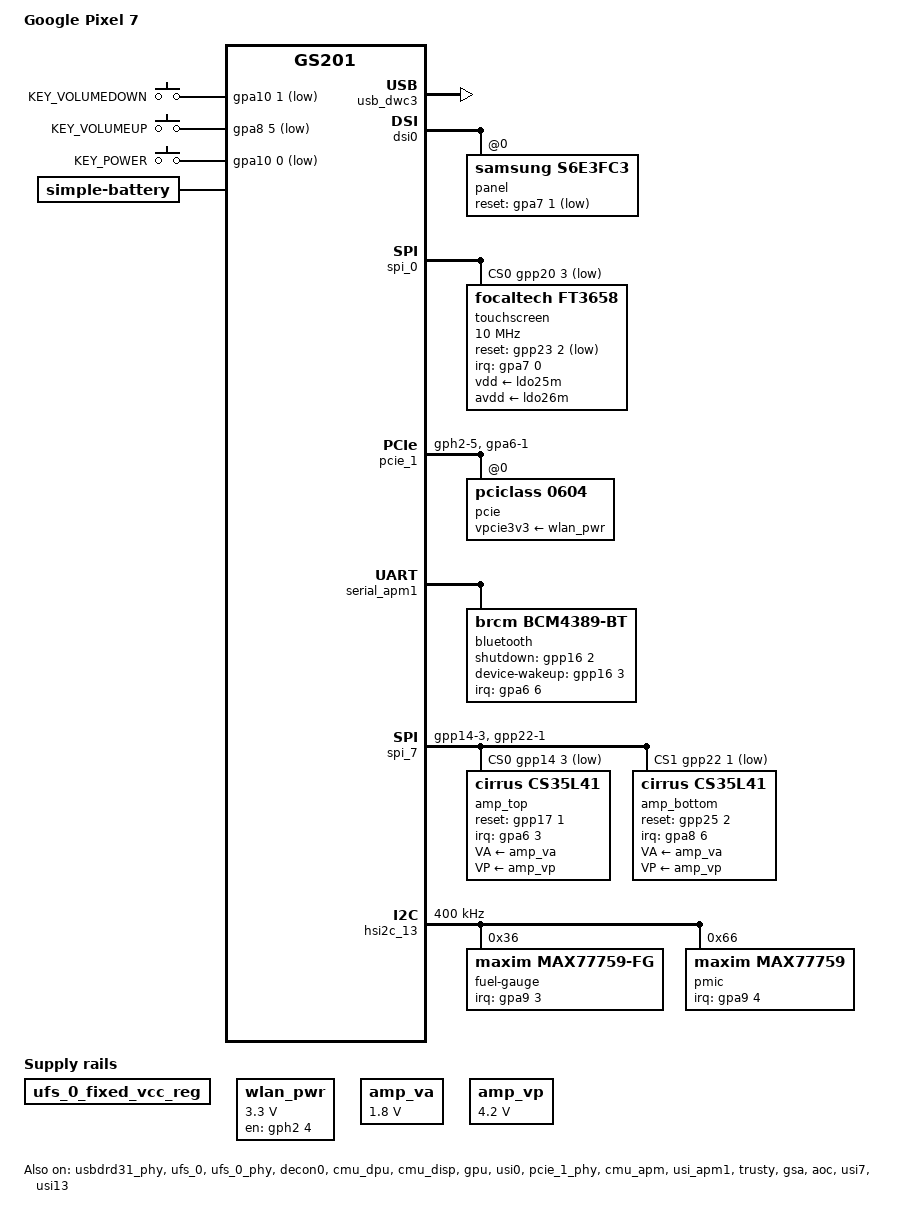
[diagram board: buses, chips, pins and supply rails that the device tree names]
// SPDX-License-Identifier: GPL-2.0-only
/*
 * Google Pixel 7 (panther) - M1 first-light board file.
 *
 * Same SoC and, by the stock dtbo, the same PMICs, charger, fuel gauge,
 * haptics, amplifiers, Wi-Fi/BT and GNSS parts as the Pixel 7 Pro
 * (cheetah). What differs: the panel (Samsung S6E3FC3, 1080x2400, 60/90 Hz)
 * and the touch controller (Focaltech, on SPI). This file only switches on
 * what the bootloader already leaves running or what is board-independent
 * on gs201: the boot framebuffer, USB, UFS and the keys; and what has been
 * brought up on the phone since: touch, GPU, display. Everything else stays
 * disabled until it is proven on the phone.
 */

/dts-v1/;

#include <dt-bindings/input/input.h>
#include "gs201.dtsi"

/ {
	model = "Google Pixel 7";
	compatible = "google,gs201-panther", "google,gs201";

	/* ABL base-DTB match, as cheetah: B0 = 0x09855001 */
	soc_id = <0x09855001 0x0>;

	chosen {
		/* ABL requires bootargs to exist; it appends its own after these */
		bootargs = "console=tty0 fbcon=font:TER16x32 panic=10 clk_ignore_unused pd_ignore_unused rdinit=/init mem_sleep_default=s2idle";
		#address-cells = <2>;
		#size-cells = <1>;
		ranges;

		/*
		 * What ABL scans out from DECON0 (S6E3FC3 panel): ABL's own
		 * splash@fac00000 carve-out, seen on this phone (2026-10-25).
		 */
		framebuffer0: framebuffer@fac00000 {
			compatible = "simple-framebuffer";
			memory-region = <&cont_splash_mem>;
			width = <1080>;
			height = <2400>;
			stride = <(1080 * 4)>;
			format = "a8r8g8b8";
		};
	};

	/* same pins as cheetah and felix (factory key-voldown/volup/power) */
	gpio-keys {
		compatible = "gpio-keys";
		pinctrl-0 = <&key_voldown>, <&key_volup>, <&key_power>;
		pinctrl-names = "default";

		button-vol-down {
			label = "KEY_VOLUMEDOWN";
			linux,code = <KEY_VOLUMEDOWN>;
			gpios = <&gpa10 1 GPIO_ACTIVE_LOW>;
			wakeup-source;
		};

		button-vol-up {
			label = "KEY_VOLUMEUP";
			linux,code = <KEY_VOLUMEUP>;
			gpios = <&gpa8 5 GPIO_ACTIVE_LOW>;
			wakeup-source;
		};

		button-power {
			label = "KEY_POWER";
			linux,code = <KEY_POWER>;
			gpios = <&gpa10 0 GPIO_ACTIVE_LOW>;
			wakeup-source;
		};
	};

	/*
	 * The battery, from the stock dtbo's google,battery (entry 22, PANTHER
	 * MP): google,chg-battery-capacity 4277 mAh, the top of
	 * google,chg-cv-limits (4.2/4.3/4.45 V) and the gauge model's VEmpty.
	 * The charge limits are for the charger cell (pmic@66): 4.45 V, the
	 * top CV step, and 0.3C (1266720 uA, the nearest CHGCC step under
	 * 0.3 x 4277 mAh). The temperature guard (max77759_charger temp_guard)
	 * steps both down by stock's google,chg-temp-limits table.
	 */
	battery: battery {
		compatible = "simple-battery";
		charge-full-design-microamp-hours = <4277000>;
		voltage-max-design-microvolt = <4450000>;
		voltage-min-design-microvolt = <3300000>;
		constant-charge-voltage-max-microvolt = <4450000>;
		constant-charge-current-max-microamp = <1266720>;
	};

	/* UFS VCC: gpp0-1, left on by the bootloader (as cheetah) */
	ufs_0_fixed_vcc_reg: regulator-ufs-vcc {
		compatible = "regulator-fixed";
		regulator-name = "ufs-vcc";
		regulator-always-on;
		regulator-boot-on;
	};

	/*
	 * WL_REG_ON of the BCM4389 (gph2-4, as on cheetah and in the stock
	 * dtbo). Google raises it and waits 200 ms before training the link
	 * (WIFI_TURNON_DELAY in bcmdhd). Modelled as the root port's supply so
	 * the PCI pwrctrl core switches it around link training.
	 */
	wlan_pwr: regulator-wlan {
		compatible = "regulator-fixed";
		regulator-name = "wlan-reg-on";
		regulator-min-microvolt = <3300000>;
		regulator-max-microvolt = <3300000>;
		gpio = <&gph2 4 GPIO_ACTIVE_HIGH>;
		enable-active-high;
		startup-delay-us = <200000>;
		pinctrl-0 = <&wlan_reg_on>;
		pinctrl-names = "default";
	};

	reserved-memory {
		#address-cells = <2>;
		#size-cells = <1>;
		ranges;

		/* stock's pstore region, readable from the stock slot after a warm reboot */
		ramoops@fd3ff000 {
			compatible = "ramoops";
			reg = <0x0 0xfd3ff000 0x400000>;
			console-size = <0x200000>;
			pmsg-size = <0x200000>;
		};

		cont_splash_mem: splash@fac00000 {
			reg = <0x0 0xfac00000 (1080 * 2400 * 4)>;
			no-map;
		};

		/*
		 * All of the Wi-Fi chip's DMA buffers come from this pool, as on
		 * cheetah: it keeps driver bugs away from the rest of RAM (not
		 * the chip's own firmware).
		 */
		wifi_dma_pool: wifi-dma-pool {
			compatible = "restricted-dma-pool";
			size = <0x1000000>;
			alignment = <0x0 0x200000>;
			/* the chip's writes above 4 GiB are not seen */
			alloc-ranges = <0x0 0x80000000 0x80000000>;
		};

		/* gs-decon's scanout buffers: DPP0 takes 32-bit addresses */
		display_pool: display-pool {
			compatible = "shared-dma-pool";
			reusable;
			size = <0x4000000>;
			/* read with the root's #address-cells (2), not #size-cells */
			alignment = <0x0 0x200000>;
			alloc-ranges = <0x0 0x80000000 0x80000000>;
		};
	};
};

&usbdrd31_phy {
	status = "okay";
};

&usb_dwc3 {
	status = "okay";
};

&ufs_0 {
	vcc-supply = <&ufs_0_fixed_vcc_reg>;
	status = "okay";
};

&ufs_0_phy {
	status = "okay";
};

/*
 * The bootloader leaves DECON0 -> DSIM0 -> panel running in command mode
 * with DSC (1080x2400, 4 lanes at 1102 Mbps, 60 Hz), as on cheetah.
 * gs-decon (flip-only KMS) takes the screen over from simpledrm once it,
 * the DSIM and the panel drivers have probed.
 */
&dsi0 {
	status = "okay";

	panel: panel@0 {
		compatible = "samsung,s6e3fc3";
		reg = <0>;
		/* high = running; the bootloader leaves it high (stock dtbo: gpa7-1) */
		reset-gpios = <&gpa7 1 GPIO_ACTIVE_LOW>;
		/* vddi (S2MPG13 BUCKA), vci (S2MPG12 LDO27): no driver yet */
		width-mm = <66>;
		height-mm = <146>;
	};
};

&decon0 {
	memory-region = <&display_pool>, <&cont_splash_mem>;
	memory-region-names = "pool", "boot-framebuffer";
	status = "okay";
};

&cmu_dpu {
	status = "okay";
};

&cmu_disp {
	status = "okay";
};

/* Mali-G710 (Panthor), as cheetah: the G3D rails follow the PMU power domain and ACPM */
&gpu {
	status = "okay";
};

/*
 * Main PMIC, for the touchscreen's two LDOs and its RTC. With the interrupt
 * (GIC SPI 72, as cheetah and stock) the driver also adds the RTC: the
 * clock across reboots and the wake-up timer for suspend (omarchy-mobile
 * SUSPEND-PLAN S3b). It only reads and writes the RTC and the interrupt
 * masks. Only the LDOs described here can be switched; the rest stay as
 * the bootloader set them.
 */
&acpm_ipc {
	pmic-1 {
		compatible = "samsung,s2mpg12-pmic";
		interrupts = <GIC_SPI 72 IRQ_TYPE_LEVEL_HIGH>;
		google,vgpio2ap-sysreg = <&sysreg_vgpio2ap>;
		wakeup-source;

		regulators {
			/*
			 * L25M_TSP_DVDD and L26M_TS_AVDD, stock's ranges, so
			 * nothing sets a voltage at probe. Off at hand-off on
			 * this phone: the FT3658 does not answer without them.
			 */
			ldo25m: ldo25m {
				regulator-name = "vdd_ts";
				regulator-min-microvolt = <1600000>;
				regulator-max-microvolt = <1950000>;
			};

			ldo26m: ldo26m {
				regulator-name = "avdd_ts";
				regulator-min-microvolt = <2500000>;
				regulator-max-microvolt = <3000000>;
			};
		};
	};
};

/*
 * Touchscreen: FocalTech FT3658 on USI0 SPI, from the stock dtbo (entry 22,
 * focaltech,ts): cheetah's bus, chip select, IRQ and reset pins, stock's
 * supplies. gph1-0 (ap2aoc-spi-sel) is the AoC's claim on the bus, which
 * nothing makes without an AoC driver: it reads low, the AP's.
 */
&usi0 {
	samsung,mode = <USI_MODE_SPI>;
	status = "okay";
};

&spi_0 {
	pinctrl-0 = <&spi0_bus &spi0_miso &spi0_cs_gpio>;
	cs-gpios = <&gpp20 3 GPIO_ACTIVE_LOW>;
	num-cs = <1>;
	status = "okay";

	touchscreen@0 {
		compatible = "focaltech,ft3658";
		reg = <0>;
		spi-max-frequency = <10000000>;
		interrupt-parent = <&gpa7>;
		interrupts = <0 IRQ_TYPE_EDGE_FALLING>;
		reset-gpios = <&gpp23 2 GPIO_ACTIVE_LOW>;
		vdd-supply = <&ldo25m>;
		avdd-supply = <&ldo26m>;
		pinctrl-0 = <&ts_irq &ts_reset>;
		pinctrl-names = "default";
		touchscreen-size-x = <1080>;
		touchscreen-size-y = <2400>;
	};
};

/*
 * Wi-Fi: BCM4389 on PCIe GEN4A_1, as on cheetah (stock dtbo: bcmdhd_wlan on
 * pcie_1, ch-num 1, the same pins). Firmware from the factory image
 * (tools/extract-vendor-firmware-panther): brcmfmac4389c1-pcie.<board>.*
 */
&pcie_1 {
	status = "okay";
	pinctrl-0 = <&pcie1_clkreq>, <&pcie1_perst>, <&wlan_dev_wake>,
		    <&wlan_host_wake>;
	pinctrl-names = "default";

	pcie@0,0 {
		compatible = "pciclass,0604";
		device_type = "pci";
		reg = <0x0 0x0 0x0 0x0 0x0>;
		bus-range = <0x01 0xff>;
		#address-cells = <3>;
		#size-cells = <2>;
		ranges;
		vpcie3v3-supply = <&wlan_pwr>;

		wifi@0,0 {
			compatible = "pci14e4,4441";
			reg = <0x10000 0x0 0x0 0x0 0x0>;
			brcm,board-type = "google,gs201-panther";
			memory-region = <&wifi_dma_pool>;
		};
	};
};

&pcie_1_phy {
	status = "okay";
};

/* disabled, as on cheetah: PCIe and UFS share its VID 0 */
&pcie_1_sysmmu {
	google,dma-window = <&wifi_dma_pool>;
};

/*
 * Bluetooth: the BCM4389 BT core on the APM USI1 UART, as on cheetah (stock
 * dtbo: btbcm with BT_REG_ON gpp16-2, BT_DEV_WAKE gpp16-3, host wake gpa6-6).
 */
&cmu_apm {
	status = "okay";
};

&usi_apm1 {
	status = "okay";
};

&serial_apm1 {
	status = "okay";

	bluetooth {
		compatible = "brcm,bcm4389-bt";
		shutdown-gpios = <&gpp16 2 GPIO_ACTIVE_HIGH>;
		device-wakeup-gpios = <&gpp16 3 GPIO_ACTIVE_HIGH>;
		interrupts-extended = <&gpa6 6 IRQ_TYPE_EDGE_RISING>;
		interrupt-names = "host-wakeup";
		pinctrl-0 = <&bt_reg_on &bt_dev_wake &bt_host_wake>;
		pinctrl-names = "default";
		max-speed = <3000000>;
	};
};

&pinctrl_peric0 {
	status = "okay";

	bt_reg_on: bt-reg-on-pins {
		samsung,pins = "gpp16-2";
		samsung,pin-function = <GS101_PIN_FUNC_OUTPUT>;
		samsung,pin-pud = <GS101_PIN_PULL_NONE>;
		samsung,pin-drv = <GS101_PIN_DRV_2_5_MA>;
	};

	bt_dev_wake: bt-dev-wake-pins {
		samsung,pins = "gpp16-3";
		samsung,pin-function = <GS101_PIN_FUNC_OUTPUT>;
		samsung,pin-pud = <GS101_PIN_PULL_NONE>;
		samsung,pin-drv = <GS101_PIN_DRV_2_5_MA>;
	};
};

&pinctrl_far_alive {
	wlan_host_wake: wlan-host-wake-pins {
		samsung,pins = "gpa6-1";
		samsung,pin-function = <GS101_PIN_FUNC_EINT>;
		samsung,pin-pud = <GS101_PIN_PULL_DOWN>;
		samsung,pin-drv = <GS101_PIN_DRV_2_5_MA>;
	};

	bt_host_wake: bt-host-wake-pins {
		samsung,pins = "gpa6-6";
		samsung,pin-function = <GS101_PIN_FUNC_EINT>;
		samsung,pin-pud = <GS101_PIN_PULL_DOWN>;
		samsung,pin-drv = <GS101_PIN_DRV_2_5_MA>;
	};
};

&pinctrl_hsi2 {
	wlan_reg_on: wlan-reg-on-pins {
		samsung,pins = "gph2-4";
		samsung,pin-function = <GS101_PIN_FUNC_OUTPUT>;
		samsung,pin-pud = <GS101_PIN_PULL_NONE>;
		samsung,pin-drv = <GS101_PIN_DRV_2_5_MA>;
		samsung,pin-con-pdn = <GS101_PIN_PDN_PREV>;
		samsung,pin-pud-pdn = <GS101_PIN_PULL_NONE>;
	};

	wlan_dev_wake: wlan-dev-wake-pins {
		samsung,pins = "gph2-5";
		samsung,pin-function = <GS101_PIN_FUNC_INPUT>;
		samsung,pin-pud = <GS101_PIN_PULL_DOWN>;
		samsung,pin-drv = <GS101_PIN_DRV_2_5_MA>;
		samsung,pin-con-pdn = <GS101_PIN_PDN_PREV>;
		samsung,pin-pud-pdn = <GS101_PIN_PULL_DOWN>;
	};
};

/*
 * The AoC (audio and sensor DSP), as cheetah's aoc-core-test overlay:
 * Trusty starts it (hwmgr.aoc), the GSA authenticates aoc.bin (from the
 * factory image). The modules stay blacklisted from autoload; ztos-aoc-start
 * loads them in order. Board id and revision from the stock dtbo (aoc-board-id,
 * aoc-board-rev, board config "P10"); the sensor rails are cheetah's
 * (LDO7S, LDO5S).
 */
&trusty {
	status = "okay";
};

&gsa {
	status = "okay";
};

&aoc_sysmmu {
	status = "okay";
};

&aoc_mbox_a32 {
	status = "okay";
};

&aoc_mbox_f1 {
	status = "okay";
};

&aoc_mbox_p6 {
	status = "okay";
};

&aoc {
	google,board-id = <0x30401>;
	google,board-rev = <0x10000>;
	status = "okay";
};

/*
 * Speaker amplifiers: two Cirrus Logic CS35L41 (revision B2) on PERIC0 USI7
 * SPI, as on cheetah (Google's gs201-cheetah-audio.dtsi); the stock panther
 * dtbo has the same bus, chip selects, resets and interrupts. Chip select 0
 * is the top speaker, which is also the earpiece; chip select 1 is the bottom
 * loudspeaker. Their audio port (TDM) is wired to the AoC audio DSP, so
 * the sound card (gs201-panther-audio.dtsi) plays through the AoC.
 *
 * The boost values are the stock ones, except the peak current: 2.5 A (stock
 * speaker playback) instead of the stock DT default of 3.5 A (voice calls),
 * until the bring-up gates in AUDIO-PLAN.md have passed. The inductor and
 * capacitor values select the boost loop coefficients and must stay as they
 * are.
 */
/ {
	/* S2MPG13 BUCKA ("SA"), always on; no S2MPG13 regulator driver yet. */
	amp_va: regulator-amp-va {
		compatible = "regulator-fixed";
		regulator-name = "amp-va";
		regulator-min-microvolt = <1800000>;
		regulator-max-microvolt = <1800000>;
		regulator-always-on;
		regulator-boot-on;
	};

	/* The amplifiers' VP pins sit directly on VSYS (stock: V_SYS_DUMMY). */
	amp_vp: regulator-amp-vp {
		compatible = "regulator-fixed";
		regulator-name = "amp-vp";
		regulator-min-microvolt = <4200000>;
		regulator-max-microvolt = <4200000>;
		regulator-always-on;
		regulator-boot-on;
	};
};

&usi7 {
	samsung,mode = <USI_MODE_SPI>;
	status = "okay";
};

&spi_7 {
	pinctrl-0 = <&spi7_bus &spi7_miso &amp_top_cs &amp_bottom_cs>;
	cs-gpios = <&gpp14 3 GPIO_ACTIVE_LOW>, <&gpp22 1 GPIO_ACTIVE_LOW>;
	num-cs = <2>;
	status = "okay";

	amp_top: amplifier@0 {
		compatible = "cirrus,cs35l41";
		reg = <0>;
		#sound-dai-cells = <1>;
		interrupts-extended = <&gpa6 3 IRQ_TYPE_LEVEL_HIGH>;
		/* AMP1_RESET_L: the driver drives 1 to release reset */
		reset-gpios = <&gpp17 1 GPIO_ACTIVE_HIGH>;
		pinctrl-0 = <&amp_top_irq &amp_top_rst>;
		pinctrl-names = "default";
		VA-supply = <&amp_va>;
		VP-supply = <&amp_vp>;
		sound-name-prefix = "Top";
		cirrus,subsystem-id = "panther";
		cirrus,boost-type = <0>;
		cirrus,boost-peak-milliamp = <2500>;
		cirrus,boost-ind-nanohenry = <1000>;
		cirrus,boost-cap-microfarad = <30>;
		cirrus,asp-sdout-hiz = <3>;
		/* the stock protection firmware does not survive hibernation */
		cirrus,dsp-no-hibernate;
		/* GPIO2 = push-pull interrupt, active high */
		cirrus,gpio2-src-select = <5>;
		cirrus,gpio2-output-enable;
	};

	amp_bottom: amplifier@1 {
		compatible = "cirrus,cs35l41";
		reg = <1>;
		#sound-dai-cells = <1>;
		interrupts-extended = <&gpa8 6 IRQ_TYPE_LEVEL_HIGH>;
		/* AMP2_RESET_L: the driver drives 1 to release reset */
		reset-gpios = <&gpp25 2 GPIO_ACTIVE_HIGH>;
		pinctrl-0 = <&amp_bottom_irq &amp_bottom_rst>;
		pinctrl-names = "default";
		VA-supply = <&amp_va>;
		VP-supply = <&amp_vp>;
		sound-name-prefix = "Bottom";
		cirrus,subsystem-id = "panther";
		cirrus,boost-type = <0>;
		cirrus,boost-peak-milliamp = <2500>;
		cirrus,boost-ind-nanohenry = <1000>;
		cirrus,boost-cap-microfarad = <30>;
		cirrus,asp-sdout-hiz = <3>;
		/* the stock protection firmware does not survive hibernation */
		cirrus,dsp-no-hibernate;
		cirrus,gpio2-src-select = <5>;
		cirrus,gpio2-output-enable;
	};
};

&pinctrl_far_alive {
	amp_top_irq: amp-top-irq-pins {
		samsung,pins = "gpa6-3";
		samsung,pin-function = <GS101_PIN_FUNC_EINT>;
		samsung,pin-pud = <GS101_PIN_PULL_NONE>;
	};

	amp_bottom_irq: amp-bottom-irq-pins {
		samsung,pins = "gpa8-6";
		samsung,pin-function = <GS101_PIN_FUNC_EINT>;
		samsung,pin-pud = <GS101_PIN_PULL_NONE>;
	};
};

&pinctrl_peric0 {
	amp_top_cs: amp-top-cs-pins {
		samsung,pins = "gpp14-3";
		samsung,pin-function = <GS101_PIN_FUNC_OUTPUT>;
		samsung,pin-pud = <GS101_PIN_PULL_NONE>;
		samsung,pin-drv = <GS101_PIN_DRV_5_MA>;
	};

	amp_top_rst: amp-top-rst-pins {
		samsung,pins = "gpp17-1";
		samsung,pin-function = <GS101_PIN_FUNC_OUTPUT>;
		samsung,pin-pud = <GS101_PIN_PULL_NONE>;
	};
};

&pinctrl_peric1 {
	status = "okay";

	amp_bottom_cs: amp-bottom-cs-pins {
		samsung,pins = "gpp22-1";
		samsung,pin-function = <GS101_PIN_FUNC_OUTPUT>;
		samsung,pin-pud = <GS101_PIN_PULL_NONE>;
	};

	amp_bottom_rst: amp-bottom-rst-pins {
		samsung,pins = "gpp25-2";
		samsung,pin-function = <GS101_PIN_FUNC_OUTPUT>;
		samsung,pin-pud = <GS101_PIN_PULL_NONE>;
	};
};

/* The AoC sound card, with the amplifiers above as its TDM 0 codecs */
#include "gs201-panther-audio.dtsi"

/* The cameras: main, ultrawide and front */
#include "gs201-panther-camera.dtsi"

/*
 * MAX77759 on USI13 (I2C 13), as on cheetah and in the stock dtbo (fragment
 * 42): Type-C port controller @25, fuel gauge @36, PMIC/charger @66 and @69.
 * All of its interrupt lines are on ALIVE gpa9, active low with pull-ups.
 *
 * The fuel gauge and the PMIC/charger (pmic@66) are on; the Type-C port
 * controller @25 is not, because the USB link is our only way into the
 * phone. Without it no "tcpm-source" ever reports a source, so the charger
 * runs as on cheetah (omarchy-mobile USB-C-PLAN, gate D1): modprobe options
 * default_ilim_ua=500000 (charge at once, as the bootloader did) and
 * temp_guard=1, keep_wcin=1 (kernel/panther/patches/0005: the wireless
 * input stays on and counts as a source). omamobile-usb-rescue closes the
 * USB data switch the port controller opens on unplug.
 */
&usi13 {
	samsung,mode = <USI_MODE_I2C>;
	status = "okay";
};

&hsi2c_13 {
	clock-frequency = <400000>;
	status = "okay";

	fuel-gauge@36 {
		compatible = "maxim,max77759-fg";
		reg = <0x36>;
		interrupts-extended = <&gpa9 3 IRQ_TYPE_LEVEL_LOW>;
		pinctrl-0 = <&if_pmic_fg_int>;
		pinctrl-names = "default";
		/* maxim,rsense-default = <500> (10 uOhm units) in the stock dtbo */
		shunt-resistor-micro-ohms = <5000>;
		monitored-battery = <&battery>;

		/*
		 * Battery model for the pack with a 1 kOhm ID resistor (ATL,
		 * DesignCap 0x0873 = 4326 mAh), from the stock dtbo's
		 * maxim,fg-data (batt-id-kohm 1, model version 2), except
		 * RelaxCfg 0x143b, the value stock writes over the model's at
		 * boot (maxim,r_regval_1720x = <0x2a143b>). FilterCfg is already
		 * stock's filtercfg-default (0xc613).
		 *
		 * The driver only writes a model after a gauge power-on reset
		 * (the battery fully drained or disconnected); otherwise it
		 * keeps the one stock loaded, and charge_full_design shows which
		 * pack this is. The other pack (3 kOhm, LSN, DesignCap 0x0891 =
		 * 4386 mAh) would be:
		 *   fg-model: 0xa4f0 0xb750 0xb8b0 0xba50 0xbbe0 0xbd60 0xbe70
		 *     0xbf80 0xc170 0xc320 0xc960 0xced0 0xd210 0xd580 0xd8a0
		 *     0xdc60 0x0160 0x0f30 0x0e00 0x1210 0x1500 0x1800 0x1520
		 *     0x0da0 0x0be0 0x07f0 0x06c0 0x06f0 0x06e0 0x06f0 0x05f0
		 *     0x05f0, then 16 x 0x0200
		 *   fg-params: as below with DesignCap/FullCapRep/FullCapNom
		 *     0x0891, dQAcc 0x0224, QRTable 0x2500 0x1180 0x0780 0x0580,
		 *     TempCo 0x1802
		 */
		maxim,fg-model = /bits/ 16 <
			0x8c80 0xb770 0xb8f0 0xba50 0xbb40 0xbc30 0xbe00 0xbfd0
			0xc1b0 0xc3a0 0xc6b0 0xc9c0 0xd020 0xd300 0xd5e0 0xdc30
			0x0080 0x1070 0x1020 0x0ed0 0x0f00 0x1700 0x1530 0x0c20
			0x0c40 0x07f0 0x07f0 0x06f0 0x0710 0x06d0 0x06f0 0x06f0
			0x0200 0x0200 0x0200 0x0200 0x0200 0x0200 0x0200 0x0200
			0x0200 0x0200 0x0200 0x0200 0x0200 0x0200 0x0200 0x0200
		>;
		maxim,fg-params = /bits/ 16 <
			0xf060	/* IAvgEmpty */
			0x143b	/* RelaxCfg (stock's, not the model's 0x0839) */
			0x260e	/* LearnCfg */
			0x4217	/* Config: external thermistor, TEx clear */
			0x0090	/* Config2 */
			0x5f00	/* FullSOCThr */
			0x0873	/* FullCapRep */
			0x0873	/* DesignCap */
			0x3200	/* dPAcc */
			0x021c	/* dQAcc */
			0x0873	/* FullCapNom */
			0xa561	/* VEmpty */
			0x1f00	/* QRTable00 */
			0x0d80	/* QRTable10 */
			0x0480	/* QRTable20 */
			0x0400	/* QRTable30 */
			0x0740	/* RComp0 */
			0x1a02	/* TempCo */
			0x0557	/* IChgTerm */
			0xed51	/* TGain */
			0x1eba	/* TOff */
			0x0014	/* Curve */
			0x3870	/* MiscCfg */
			0x1900	/* AtRate */
			0x2241	/* ConvgCfg */
			0xc613	/* FilterCfg */
			0x2d00	/* TaskPeriod */
		>;
	};

	/* stock: max77759 (fragment 39), irq gpa9-4 (if-pmic-irq) */
	pmic@66 {
		compatible = "maxim,max77759";
		reg = <0x66>;
		interrupts-extended = <&gpa9 4 IRQ_TYPE_LEVEL_LOW>;
		pinctrl-0 = <&if_pmic_int>;
		pinctrl-names = "default";
		interrupt-controller;
		#interrupt-cells = <2>;
		monitored-battery = <&battery>;

		gpio {
			compatible = "maxim,max77759-gpio";
			gpio-controller;
			#gpio-cells = <2>;
			interrupt-controller;
			#interrupt-cells = <2>;
		};
	};
};

&pinctrl_gpio_alive {
	/* the PMIC's interrupt line (stock: if-pmic-irq, gpa9-4) */
	if_pmic_int: if-pmic-int-pins {
		samsung,pins = "gpa9-4";
		samsung,pin-function = <GS101_PIN_FUNC_EINT>;
		samsung,pin-pud = <GS101_PIN_PULL_UP>;
		samsung,pin-drv = <GS101_PIN_DRV_2_5_MA>;
	};

	/* the fuel gauge's ALRT line (stock: if-pmic-fg-irq, gpa9-3) */
	if_pmic_fg_int: if-pmic-fg-int-pins {
		samsung,pins = "gpa9-3";
		samsung,pin-function = <GS101_PIN_FUNC_EINT>;
		samsung,pin-pud = <GS101_PIN_PULL_UP>;
		samsung,pin-drv = <GS101_PIN_DRV_2_5_MA>;
	};
};
